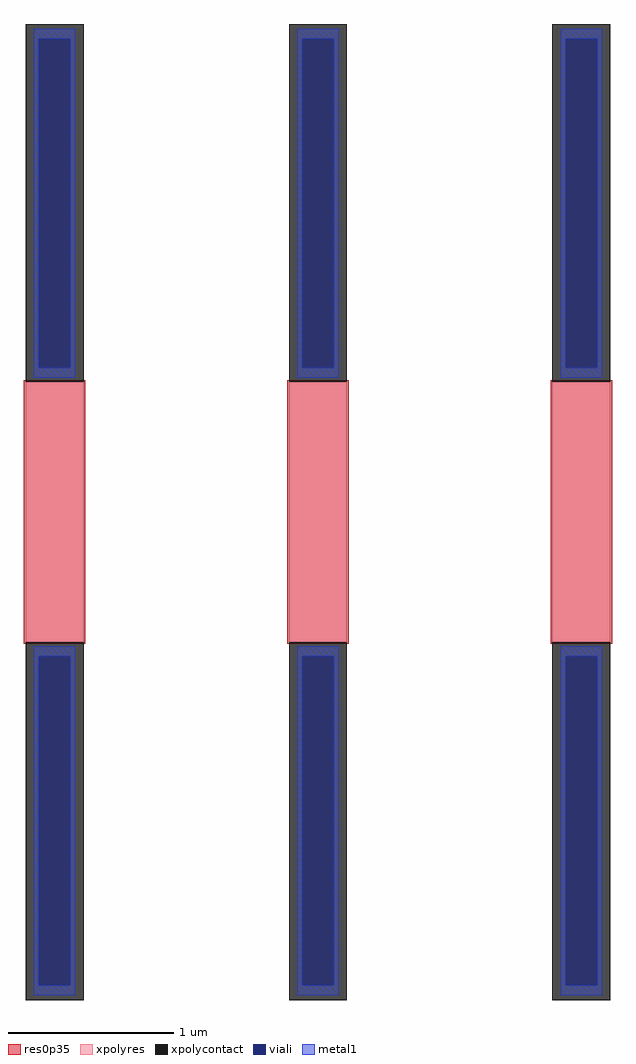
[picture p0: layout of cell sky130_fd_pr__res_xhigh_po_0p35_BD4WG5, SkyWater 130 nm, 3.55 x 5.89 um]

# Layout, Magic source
magic
tech sky130A
magscale 1 2
<< xpolycontact >>
rect -353 157 -283 589
rect -353 -589 -283 -157
rect -35 157 35 589
rect -35 -589 35 -157
rect 283 157 353 589
rect 283 -589 353 -157
<< xpolyres >>
rect -353 -157 -283 157
rect -35 -157 35 157
rect 283 -157 353 157
<< viali >>
rect -337 174 -299 571
rect -19 174 19 571
rect 299 174 337 571
rect -337 -571 -299 -174
rect -19 -571 19 -174
rect 299 -571 337 -174
<< metal1 >>
rect -343 571 -293 583
rect -343 174 -337 571
rect -299 174 -293 571
rect -343 162 -293 174
rect -25 571 25 583
rect -25 174 -19 571
rect 19 174 25 571
rect -25 162 25 174
rect 293 571 343 583
rect 293 174 299 571
rect 337 174 343 571
rect 293 162 343 174
rect -343 -174 -293 -162
rect -343 -571 -337 -174
rect -299 -571 -293 -174
rect -343 -583 -293 -571
rect -25 -174 25 -162
rect -25 -571 -19 -174
rect 19 -571 25 -174
rect -25 -583 25 -571
rect 293 -174 343 -162
rect 293 -571 299 -174
rect 337 -571 343 -174
rect 293 -583 343 -571
<< res0p35 >>
rect -355 -159 -281 159
rect -37 -159 37 159
rect 281 -159 355 159
<< properties >>
string gencell sky130_fd_pr__res_xhigh_po_0p35
string library sky130
string parameters w 0.35 l 1.57 m 1 nx 3 wmin 0.350 lmin 0.50 rho 2000 val 10.046k dummy 0 dw 0.0 term 188.2 sterm 0.0 caplen 0 wmax 0.350 guard 0 glc 0 grc 0 gtc 0 gbc 0 compatible {sky130_fd_pr__res_xhigh_po_0p35  sky130_fd_pr__res_xhigh_po_0p69 sky130_fd_pr__res_xhigh_po_1p41  sky130_fd_pr__res_xhigh_po_2p85 sky130_fd_pr__res_xhigh_po_5p73} full_metal 0 n_guard 0 hv_guard 0 vias 1 viagb 0 viagt 0 viagl 0 viagr 0
<< end >>
